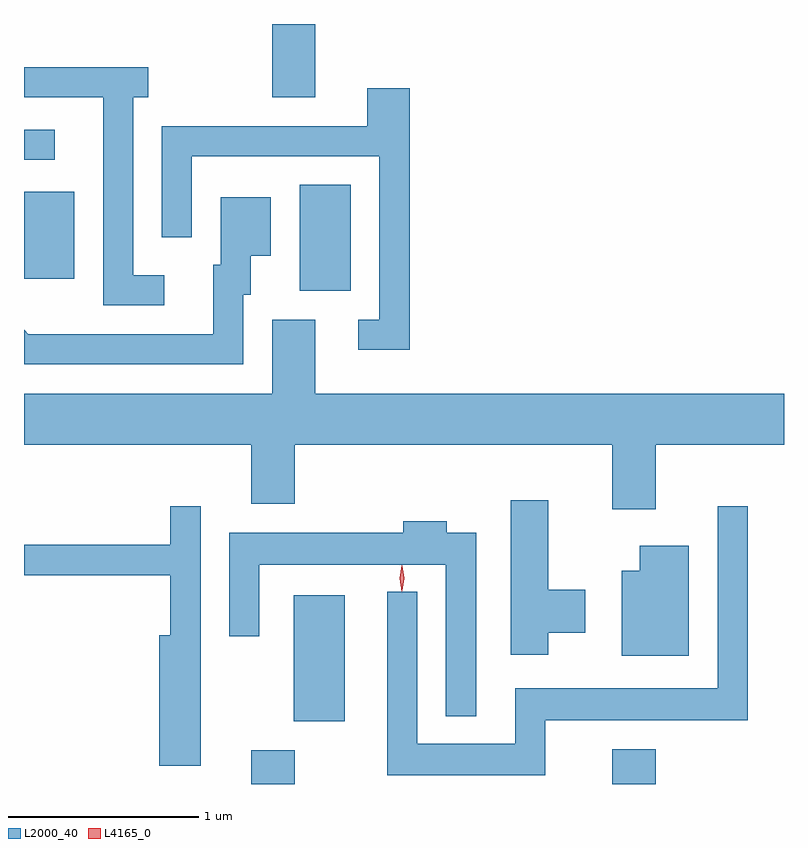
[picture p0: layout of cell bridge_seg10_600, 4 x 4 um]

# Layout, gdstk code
import gdstk
lib = gdstk.Library(unit=1e-6, precision=1e-09)
def R(c, l, rs):  # rectangles x0, y0, x1, y1
    for r in rs: c.add(gdstk.rectangle(r[:2], r[2:], *l))
def P(c, l, *ps):  # polygons
    for p in ps: c.add(gdstk.Polygon(p, *l))
L2000_40 = (2000, 40)
L4165_0 = (4165, 0)

bridge_seg10_600 = lib.new_cell('bridge_seg10_600')
R(bridge_seg10_600, L2000_40, [(839.231,2145.431,839.459,2145.609), (841.131,2145.431,841.359,2145.614), (839.456,2145.761,839.724,2146.424), (839.486,2148.026,839.754,2148.584), (838.035,2148.091,838.299,2148.549), (838.035,2148.716,838.198,2148.874), (839.341,2149.046,839.569,2149.431)])
P(bridge_seg10_600, L2000_40, [(838.773,2148.109),(838.609,2148.109),(838.609,2149.046),(838.688,2149.046),(838.688,2149.204),(838.035,2149.204),(838.035,2149.046),(838.451,2149.046),(838.451,2147.951),(838.773,2147.951)],
  [(840.064,2149.094),(839.841,2149.094),(839.841,2148.894),(838.761,2148.894),(838.761,2148.308),(838.919,2148.308),(838.919,2148.736),(839.906,2148.736),(839.906,2147.874),(839.793,2147.874),(839.793,2147.716),(840.064,2147.716)],
  [(839.189,2148.006),(839.229,2148.006),(839.229,2148.211),(839.334,2148.211),(839.334,2148.519),(839.071,2148.519),(839.071,2148.164),(839.031,2148.164),(839.031,2147.799),(838.057,2147.799),(838.035,2147.821),(838.035,2147.641),(839.189,2147.641)],
  [(841.359,2147.216),(842.035,2147.216),(842.035,2147.484),(839.569,2147.484),(839.569,2147.874),(839.341,2147.874),(839.341,2147.484),(838.035,2147.484),(838.035,2147.216),(839.231,2147.216),(839.231,2146.906),(839.459,2146.906),(839.459,2147.216),(841.131,2147.216),(841.131,2146.876),(841.359,2146.876)],
  [(840.794,2146.226),(840.989,2146.226),(840.989,2146.454),(840.794,2146.454),(840.794,2146.924),(840.596,2146.924),(840.596,2146.111),(840.794,2146.111)],
  [(840.779,2145.766),(841.844,2145.766),(841.844,2146.893),(841.686,2146.893),(841.686,2145.934),(840.621,2145.934),(840.621,2145.644),(840.104,2145.644),(840.104,2146.443),(839.946,2146.443),(839.946,2145.476),(840.779,2145.476)],
  [(838.964,2146.893),(838.806,2146.893),(838.806,2146.689),(838.035,2146.689),(838.035,2146.531),(838.806,2146.531),(838.806,2146.214),(838.746,2146.214),(838.746,2145.526),(838.964,2145.526)],
  [(840.414,2146.754),(840.259,2146.754),(840.259,2146.814),(840.031,2146.814),(840.031,2146.754),(839.116,2146.754),(839.116,2146.208),(839.274,2146.208),(839.274,2146.586),(840.256,2146.586),(840.256,2145.788),(840.414,2145.788)],
  [(841.534,2146.684),(841.276,2146.684),(841.276,2146.554),(841.181,2146.554),(841.181,2146.106),(841.534,2146.106)])
P(bridge_seg10_600, L4165_0, [(840.023,2146.443),(840.022,2146.444),(840.013,2146.513),(840.022,2146.582),(840.023,2146.583),(840.023,2146.582),(840.033,2146.513),(840.023,2146.444)],
  [(840.025,2146.447),(840.024,2146.448),(840.015,2146.514),(840.024,2146.58),(840.025,2146.58),(840.025,2146.58),(840.035,2146.514),(840.025,2146.448)])

lib.write_gds('bridge_seg10_600.gds')
